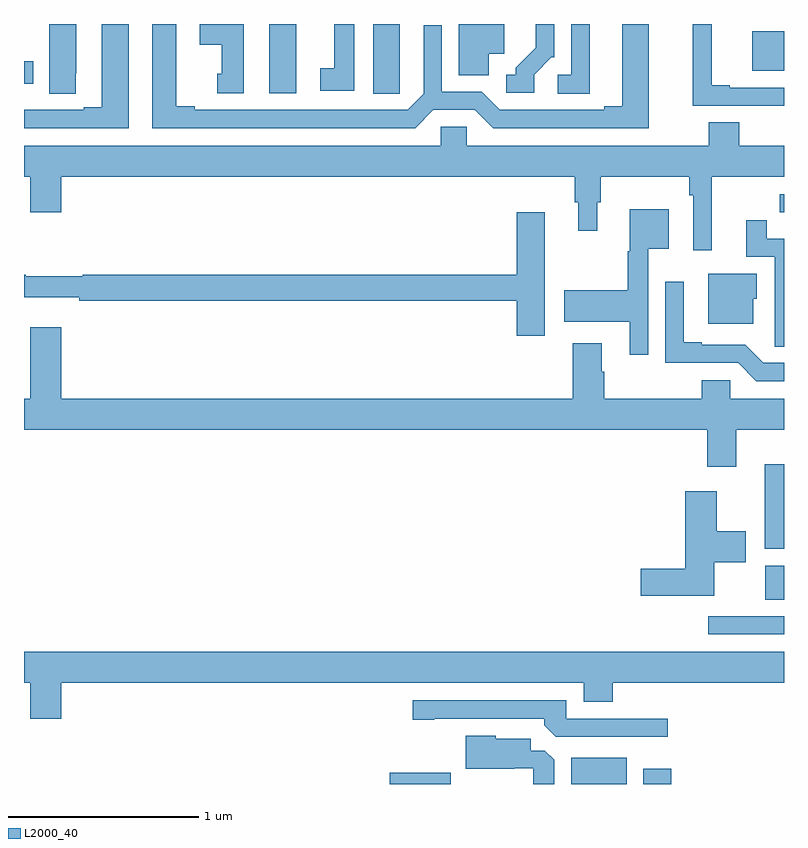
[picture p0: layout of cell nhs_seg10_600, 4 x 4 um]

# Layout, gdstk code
import gdstk
lib = gdstk.Library(unit=1e-6, precision=1e-09)
def R(c, l, rs):  # rectangles x0, y0, x1, y1
    for r in rs: c.add(gdstk.rectangle(r[:2], r[2:], *l))
def P(c, l, *ps):  # polygons
    for p in ps: c.add(gdstk.Polygon(p, *l))
L2000_40 = (2000, 40)

nhs_seg10_600 = lib.new_cell('nhs_seg10_600')
R(nhs_seg10_600, L2000_40, [(142.925,1250.5,143.245,1250.56), (143.879,1250.5,144.172,1250.638), (144.26,1250.5,144.407,1250.581), (144.6,1251.288,145,1251.384), (144.902,1251.469,145,1251.648), (144.899,1251.737,145,1252.183), (144.978,1253.508,145,1253.604), (142.292,1254.135,142.432,1254.5), (141,1254.186,141.049,1254.303), (144.833,1254.254,145,1254.463)])
P(nhs_seg10_600, L2000_40, [(143.155,1254.048),(143.373,1254.048),(143.469,1253.952),(144.289,1253.952),(144.289,1254.5),(144.149,1254.5),(144.149,1254.068),(144.053,1254.068),(144.053,1254.048),(143.505,1254.048),(143.409,1254.144),(143.199,1254.144),(143.199,1254.493),(143.103,1254.493),(143.103,1254.132),(143.019,1254.048),(141.898,1254.048),(141.898,1254.068),(141.802,1254.068),(141.802,1254.5),(141.674,1254.5),(141.674,1253.952),(143.059,1253.952)],
  [(141.55,1254.5),(141.41,1254.5),(141.41,1254.063),(141.314,1254.063),(141.314,1254.048),(141.038,1254.048),(141.038,1254.049),(141,1254.049),(141,1253.952),(141.55,1253.952)],
  [(142.977,1254.241),(142.978,1254.241),(142.978,1254.5),(142.838,1254.5),(142.838,1254.133),(142.977,1254.133)],
  [(143.446,1254.344),(143.527,1254.344),(143.527,1254.5),(143.288,1254.5),(143.288,1254.229),(143.446,1254.229)],
  [(143.685,1254.234),(143.775,1254.324),(143.79,1254.324),(143.79,1254.5),(143.693,1254.5),(143.693,1254.374),(143.588,1254.269),(143.588,1254.234),(143.538,1254.234),(143.538,1254.138),(143.685,1254.138)],
  [(142.738,1254.5),(142.634,1254.5),(142.634,1254.266),(142.56,1254.266),(142.56,1254.15),(142.738,1254.15)],
  [(142.156,1254.5),(141.926,1254.5),(141.926,1254.392),(142.04,1254.392),(142.04,1254.237),(142.016,1254.237),(142.016,1254.135),(142.156,1254.135)],
  [(141.273,1254.241),(141.274,1254.241),(141.274,1254.5),(141.134,1254.5),(141.134,1254.133),(141.273,1254.133)],
  [(143.977,1254.5),(143.88,1254.5),(143.88,1254.234),(143.808,1254.234),(143.808,1254.133),(143.977,1254.133)],
  [(145,1254.165),(144.715,1254.165),(144.715,1254.178),(144.62,1254.178),(144.62,1254.5),(144.52,1254.5),(144.52,1254.069),(145,1254.069)],
  [(144.62,1253.696),(145,1253.696),(145,1253.86),(144.764,1253.86),(144.764,1253.984),(144.604,1253.984),(144.604,1253.86),(143.331,1253.86),(143.331,1253.958),(143.193,1253.958),(143.193,1253.86),(141,1253.86),(141,1253.696),(141.032,1253.696),(141.032,1253.508),(141.196,1253.508),(141.196,1253.696),(143.899,1253.696),(143.899,1253.562),(143.918,1253.562),(143.918,1253.412),(144.016,1253.412),(144.016,1253.562),(144.035,1253.562),(144.035,1253.696),(144.502,1253.696),(144.502,1253.6),(144.522,1253.6),(144.522,1253.31),(144.62,1253.31)],
  [(144.285,1253.318),(144.394,1253.318),(144.394,1253.524),(144.188,1253.524),(144.188,1253.304),(144.177,1253.304),(144.177,1253.1),(143.844,1253.1),(143.844,1252.934),(144.188,1252.934),(144.188,1252.758),(144.285,1252.758)],
  [(143.74,1253.509),(143.594,1253.509),(143.594,1253.18),(141.31,1253.18),(141.31,1253.173),(141.01,1253.173),(141.01,1253.18),(141,1253.18),(141,1253.063),(141.292,1253.063),(141.292,1253.044),(143.594,1253.044),(143.594,1252.86),(143.74,1252.86)],
  [(145,1253.37),(144.908,1253.37),(144.908,1253.467),(144.8,1253.467),(144.8,1253.274),(144.95,1253.274),(144.95,1252.912),(144.951,1252.912),(144.951,1252.801),(145,1252.801)],
  [(144.838,1253.055),(144.856,1253.055),(144.856,1253.185),(144.602,1253.185),(144.602,1252.922),(144.838,1252.922)],
  [(145,1252.716),(144.891,1252.716),(144.795,1252.812),(144.568,1252.812),(144.568,1252.825),(144.472,1252.825),(144.472,1253.143),(144.375,1253.143),(144.375,1252.716),(144.759,1252.716),(144.855,1252.62),(145,1252.62)],
  [(144.748,1252.364),(145,1252.364),(145,1252.528),(144.717,1252.528),(144.717,1252.626),(144.566,1252.626),(144.566,1252.528),(144.053,1252.528),(144.053,1252.67),(144.04,1252.67),(144.04,1252.819),(143.888,1252.819),(143.888,1252.528),(141.196,1252.528),(141.196,1252.903),(141.032,1252.903),(141.032,1252.528),(141,1252.528),(141,1252.364),(144.596,1252.364),(144.596,1252.17),(144.748,1252.17)],
  [(144.634,1251.668),(144.799,1251.668),(144.799,1251.831),(144.646,1251.831),(144.646,1252.042),(144.479,1252.042),(144.479,1251.632),(144.246,1251.632),(144.246,1251.49),(144.634,1251.49)],
  [(141.196,1251.032),(143.945,1251.032),(143.945,1250.933),(144.098,1250.933),(144.098,1251.032),(145,1251.032),(145,1251.196),(141,1251.196),(141,1251.032),(141.032,1251.032),(141.032,1250.844),(141.196,1250.844)],
  [(144.388,1250.844),(143.853,1250.844),(143.853,1250.94),(143.046,1250.94),(143.046,1250.839),(143.158,1250.839),(143.158,1250.844),(143.738,1250.844),(143.738,1250.81),(143.799,1250.748),(144.388,1250.748)],
  [(143.791,1250.627),(143.742,1250.676),(143.668,1250.676),(143.668,1250.737),(143.484,1250.737),(143.484,1250.755),(143.324,1250.755),(143.324,1250.579),(143.579,1250.579),(143.579,1250.583),(143.679,1250.583),(143.679,1250.5),(143.791,1250.5)])

lib.write_gds('nhs_seg10_600.gds')
